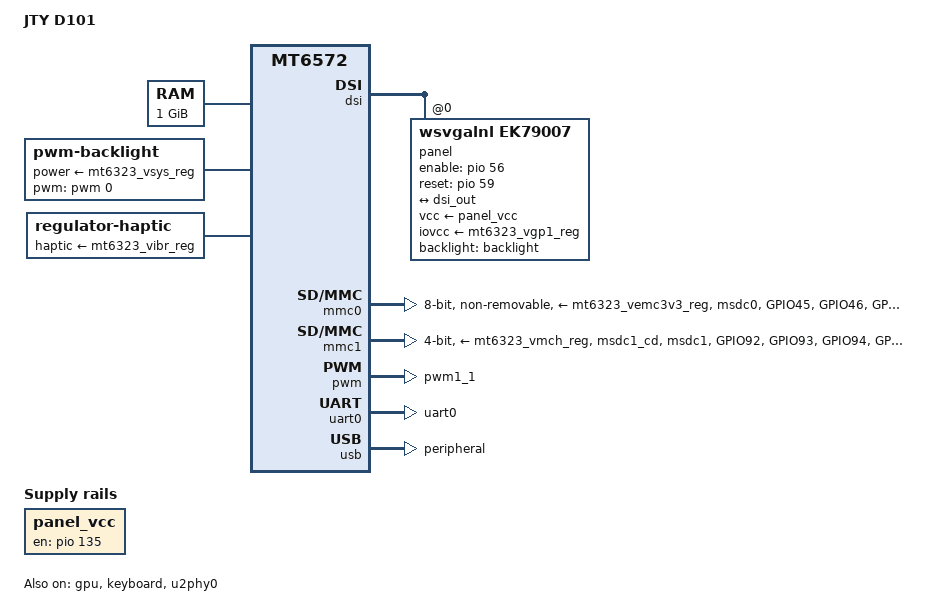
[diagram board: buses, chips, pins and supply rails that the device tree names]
// SPDX-License-Identifier: GPL-2.0
/*
 * Copyright (c) 2025 Max Shevchenko <wctrl@proton.me>
 */

/dts-v1/;
#include <dt-bindings/gpio/gpio.h>
#include <dt-bindings/input/input.h>
#include <dt-bindings/leds/common.h>
#include "mt6572.dtsi"
#include "mt6323.dtsi"

/ {
	model = "JTY D101";
	compatible = "jty,d101", "mediatek,mt6572";

	aliases {
		serial0 = &uart0;
	};

	chosen {
		#address-cells = <1>;
		#size-cells = <1>;
		stdout-path = "serial0:921600n8";
	};

	memory@80000000 {
		device_type = "memory";
		reg = <0x80000000 0x40000000>;
	};

	reserved-memory {
		#address-cells = <1>;
		#size-cells = <1>;
		ranges;

		framebuffer_reserved: framebuffer@bf400000 {
			reg = <0xbf400000 0xc00000>;
			no-map;
		};
	};

	backlight: backlight {
		compatible = "pwm-backlight";
		pwms = <&pwm 0 31250>;

		power-supply = <&mt6323_vsys_reg>;

		brightness-levels = <0 1023>;
		num-interpolated-steps = <1023>;
		default-brightness-level = <1023>;
	};

	haptic {
		compatible = "regulator-haptic";
		haptic-supply = <&mt6323_vibr_reg>;
		min-microvolt = <1200000>;
		max-microvolt = <2800000>;
	};

	panel_vcc: regulator-panel {
		compatible = "regulator-fixed";
		regulator-name = "panel_vcc";
		gpio = <&pio 135 GPIO_ACTIVE_HIGH>;
		enable-active-high;
		startup-delay-us = <200000>;
		regulator-boot-on;
		pinctrl-0 = <&panel_vcc_pins>;
		pinctrl-names = "default";
	};
};

&cpu0 {
	proc-supply = <&mt6323_vproc_reg>;
};

&cpu1 {
	proc-supply = <&mt6323_vproc_reg>;
};

&dsi {
	#address-cells = <1>;
	#size-cells = <0>;
	status = "okay";

	panel@0 {
		compatible = "wsvgalnl,ek79007";
		reg = <0>;
		vcc-supply = <&panel_vcc>;
		iovcc-supply = <&mt6323_vgp1_reg>;

		pinctrl-0 = <&panel_pins>;
		pinctrl-names = "default";

		enable-gpios = <&pio 56 GPIO_ACTIVE_HIGH>;
		reset-gpios = <&pio 59 GPIO_ACTIVE_HIGH>;

		backlight = <&backlight>;

		port {
			panel_in: endpoint {
				remote-endpoint = <&dsi_out>;
			};
		};
	};
};

&dsi_out {
	remote-endpoint = <&panel_in>;
};

&gpu {
	status = "okay";
};

&keyboard {
	pinctrl-0 = <&keypad_pins>;
	pinctrl-names = "default";
	status = "okay";

	debounce-delay-ms = <32>;
	keypad,num-rows = <2>;
	keypad,num-columns = <1>;
	linux,keymap = <MATRIX_KEY(0, 0, KEY_UP)
			MATRIX_KEY(1, 0, KEY_DOWN)>;
};

&mmc0 {
	bus-width = <8>;
	max-frequency = <200000000>;
	mmc-ddr-1_8v;
	mmc-hs200-1_8v;
	cap-mmc-highspeed;
	non-removable;
	no-sd;
	no-sdio;

	vmmc-supply = <&mt6323_vemc3v3_reg>;
	vqmmc-supply = <&mt6323_vio18_reg>;
	pinctrl-0 = <&mmc0_pins_default>;
	pinctrl-1 = <&mmc0_pins_uhs>;
	pinctrl-names = "default", "state_uhs";

	assigned-clocks = <&topckgen CLK_TOP_MSDC0_SEL>;
	assigned-clock-parents = <&topckgen CLK_TOP_MAINPLL_D8>;

	status = "okay";
};

&mmc1 {
	bus-width = <4>;
	max-frequency = <200000000>;
	sd-uhs-sdr12;
	sd-uhs-sdr25;
	sd-uhs-sdr50;
	sd-uhs-sdr104;
	sd-uhs-ddr50;
	cap-sd-highspeed;
	no-mmc;
	no-sdio;

	vmmc-supply = <&mt6323_vmch_reg>;
	vqmmc-supply = <&mt6323_vmc_reg>;
	pinctrl-0 = <&mmc1_pins_cd>, <&mmc1_pins_default>;
	pinctrl-1 = <&mmc1_pins_cd>, <&mmc1_pins_uhs>;
	pinctrl-names = "default", "state_uhs";
	cd-gpios = <&pio 86 GPIO_ACTIVE_LOW>;

	assigned-clocks = <&topckgen CLK_TOP_MSDC1_SEL>;
	assigned-clock-parents = <&topckgen CLK_TOP_MAINPLL_D10>;

	status = "okay";
};

&pio {
	backlight_pins: backlight-pins {
		mux {
			function = "pwm1";
			groups = "pwm1_1";
			
		};
	};

	keypad_pins: keypad-pins {
		mux {
			function = "keypad";
			groups = "krow0", "krow1";
		};
	};

	mmc0_pins_default: mmc0-default-pins {
		mux {
			function = "msdc0";
			groups = "msdc0";
		};
	
		conf-cmd-dat {
			pins = "GPIO45", "GPIO46", "GPIO47", "GPIO48",
			       "GPIO49", "GPIO50", "GPIO51", "GPIO52",
			       "GPIO53";
			input-enable;
			input-schmitt-enable;
			drive-strength = <6>;
			bias-pull-up = <MTK_PUPD_SET_R1R0_01>;
		};

		conf-clk {
			pins = "GPIO44";
			drive-strength = <6>;
			bias-pull-down = <MTK_PUPD_SET_R1R0_10>;
		};

		pins-rst {
			pins = "GPIO54";
			drive-strength = <6>;
			bias-pull-up;
		};
	};

	mmc0_pins_uhs: mmc0-uhs-pins {
		mux {
			function = "msdc0";
			groups = "msdc0";
		};
	
		conf-cmd-dat {
			pins = "GPIO45", "GPIO46", "GPIO47", "GPIO48",
			       "GPIO49", "GPIO50", "GPIO51", "GPIO52",
			       "GPIO53";
			input-enable;
			input-schmitt-enable;
			drive-strength = <8>;
			bias-pull-up = <MTK_PUPD_SET_R1R0_01>;
		};

		conf-clk {
			pins = "GPIO44";
			drive-strength = <8>;
			bias-pull-down = <MTK_PUPD_SET_R1R0_10>;
		};

		pins-rst {
			pins = "GPIO54";
			drive-strength = <8>;
			bias-pull-up;
		};
	};

	mmc1_pins_default: mmc1-default-pins {
		mux {
			function = "msdc1";
			groups = "msdc1";
		};

		conf-cmd-dat {
			pins = "GPIO92", "GPIO93", "GPIO94", "GPIO95",
			       "GPIO96";
			input-enable;
			input-schmitt-enable;
			drive-strength = <20>;
			bias-pull-up;
			mediatek,tdsel = <5>;
		};

		conf-clk {
			pins = "GPIO91";
			drive-strength = <20>;
			bias-pull-down;
		};
	};

	mmc1_pins_uhs: mmc1-uhs-pins {
		mux {
			function = "msdc1";
			groups = "msdc1";
		};

		conf-cmd-dat {
			pins = "GPIO92", "GPIO93", "GPIO94", "GPIO95",
			       "GPIO96";
			input-enable;
			input-schmitt-enable;
			drive-strength = <24>;
			bias-pull-up;
			mediatek,tdsel = <0>;
		};

		conf-clk {
			pins = "GPIO91";
			drive-strength = <24>;
			bias-pull-down;
		};
	};

	mmc1_pins_cd: mmc1-cd-pins {
		mux {
			function = "msdc1_cd";
			groups = "msdc1_cd";
		};
	};

	panel_pins: panel-pins {
		mux {
			function = "panel";
			groups = "panel";
		};

		conf-enable {
			pins = "GPIO56";
			bias-disable;
		};

		conf-reset {
			pins = "GPIO59";
			bias-disable;
		};
	};

	panel_vcc_pins: panel-vcc-pins {
		mux {
			function = "panel";
			groups = "panel_vcc";
		};

		conf-vcc {
			pins = "GPIO135";
			bias-disable;
		};
	};

	pmic_pins: pmic-pins {
		mux {
			function = "pmic";
			groups = "pmic_eint";
		};
	};

	uart0_pins: uart0-pins {
		mux {
			function = "uart";
			groups = "uart0";
		};
	};
};

&pmic {
	pinctrl-0 = <&pmic_pins>;
	pinctrl-names = "default";

	interrupts = <16 IRQ_TYPE_LEVEL_HIGH>;
};

&pwm {
	pinctrl-0 = <&backlight_pins>;
	pinctrl-names = "default";
	status = "okay";
};

&u2phy0 {
	status = "okay";
};

&uart0 {
	pinctrl-0 = <&uart0_pins>;
	pinctrl-names = "default";

	status = "okay";
};

&usb {
	dr_mode = "peripheral";
	status = "okay";
};
